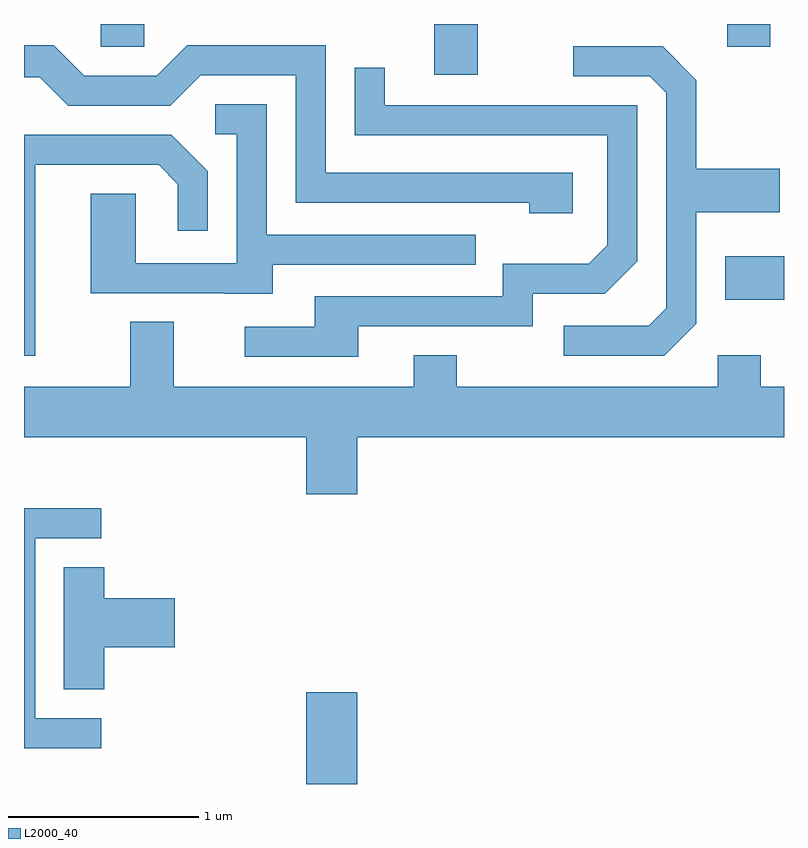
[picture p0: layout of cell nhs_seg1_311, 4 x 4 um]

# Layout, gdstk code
import gdstk
lib = gdstk.Library(unit=1e-6, precision=1e-09)
def R(c, l, rs):  # rectangles x0, y0, x1, y1
    for r in rs: c.add(gdstk.rectangle(r[:2], r[2:], *l))
def P(c, l, *ps):  # polygons
    for p in ps: c.add(gdstk.Polygon(p, *l))
L2000_40 = (2000, 40)

nhs_seg1_311 = lib.new_cell('nhs_seg1_311')
R(nhs_seg1_311, L2000_40, [(195.096,937.712,195.364,938.194), (197.301,940.261,197.611,940.489), (195.771,941.446,195.999,941.712), (194.016,941.591,194.244,941.712), (197.311,941.591,197.539,941.712)])
P(nhs_seg1_311, L2000_40, [(196.499,940.929),(195.199,940.929),(195.199,941.599),(194.469,941.599),(194.309,941.439),(193.927,941.439),(193.767,941.599),(193.611,941.599),(193.611,941.431),(193.694,941.431),(193.844,941.281),(194.382,941.281),(194.542,941.441),(195.041,941.441),(195.041,940.771),(196.271,940.771),(196.271,940.716),(196.499,940.716)],
  [(197.149,940.134),(197.149,940.721),(197.589,940.721),(197.589,940.949),(197.149,940.949),(197.149,941.417),(196.972,941.594),(196.503,941.594),(196.503,941.436),(196.904,941.436),(196.991,941.349),(196.991,940.217),(196.899,940.124),(196.453,940.124),(196.453,939.966),(196.982,939.966)],
  [(195.369,940.121),(196.289,940.121),(196.289,940.291),(196.667,940.291),(196.839,940.464),(196.839,941.284),(195.509,941.284),(195.509,941.483),(195.351,941.483),(195.351,941.126),(196.681,941.126),(196.681,940.547),(196.584,940.449),(196.131,940.449),(196.131,940.279),(195.141,940.279),(195.141,940.119),(194.773,940.119),(194.773,939.961),(195.369,939.961)],
  [(194.919,940.446),(195.988,940.446),(195.988,940.604),(194.889,940.604),(194.889,941.289),(194.618,941.289),(194.618,941.131),(194.731,941.131),(194.731,940.454),(194.199,940.454),(194.199,940.819),(193.961,940.819),(193.961,940.296),(194.665,940.296),(194.665,940.291),(194.919,940.291)],
  [(193.669,940.971),(194.319,940.971),(194.421,940.869),(194.421,940.623),(194.579,940.623),(194.579,940.937),(194.387,941.129),(193.611,941.129),(193.611,939.966),(193.669,939.966)],
  [(195.364,939.536),(197.611,939.536),(197.611,939.804),(197.489,939.804),(197.489,939.969),(197.261,939.969),(197.261,939.804),(195.889,939.804),(195.889,939.969),(195.661,939.969),(195.661,939.804),(194.399,939.804),(194.399,940.144),(194.171,940.144),(194.171,939.804),(193.611,939.804),(193.611,939.536),(195.096,939.536),(195.096,939.236),(195.364,939.236)],
  [(194.018,938.059),(193.669,938.059),(193.669,939.006),(194.018,939.006),(194.018,939.164),(193.611,939.164),(193.611,937.901),(194.018,937.901)],
  [(194.034,938.431),(194.404,938.431),(194.404,938.689),(194.034,938.689),(194.034,938.854),(193.821,938.854),(193.821,938.211),(194.034,938.211)])

lib.write_gds('nhs_seg1_311.gds')
